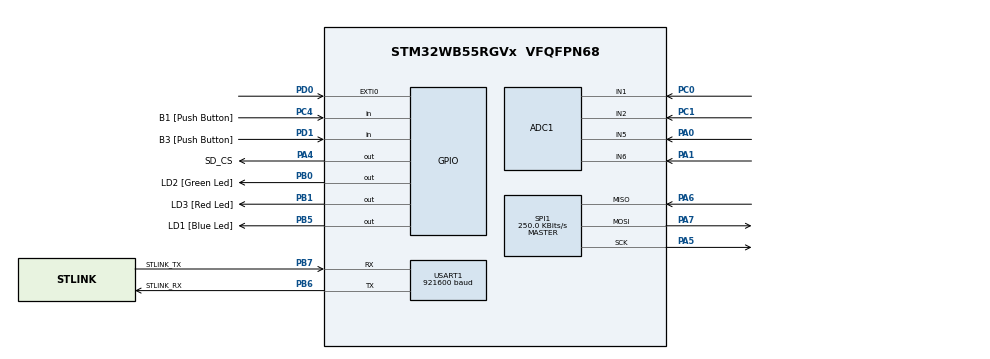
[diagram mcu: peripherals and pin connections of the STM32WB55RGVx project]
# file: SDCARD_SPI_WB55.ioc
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ADC1.Channel-0\#ChannelRegularConversion=ADC_CHANNEL_1
ADC1.Channel-4\#ChannelRegularConversion=ADC_CHANNEL_2
ADC1.Channel-5\#ChannelRegularConversion=ADC_CHANNEL_5
ADC1.Channel-6\#ChannelRegularConversion=ADC_CHANNEL_6
ADC1.DMAContinuousRequests=ENABLE
ADC1.EOCSelection=ADC_EOC_SEQ_CONV
ADC1.ExternalTrigConv=ADC_EXTERNALTRIG_T2_TRGO
ADC1.NbrOfConversion=4
ADC1.NbrOfConversionFlag=1
ADC1.OffsetNumber-0\#ChannelRegularConversion=ADC_OFFSET_NONE
ADC1.OffsetNumber-4\#ChannelRegularConversion=ADC_OFFSET_NONE
ADC1.OffsetNumber-5\#ChannelRegularConversion=ADC_OFFSET_NONE
ADC1.OffsetNumber-6\#ChannelRegularConversion=ADC_OFFSET_NONE
ADC1.OversamplingMode=ENABLE
ADC1.Rank-0\#ChannelRegularConversion=1
ADC1.Rank-4\#ChannelRegularConversion=2
ADC1.Rank-5\#ChannelRegularConversion=3
ADC1.Rank-6\#ChannelRegularConversion=4
ADC1.Ratio=ADC_OVERSAMPLING_RATIO_256
ADC1.RightBitShift=ADC_RIGHTBITSHIFT_4
ADC1.SamplingTime-0\#ChannelRegularConversion=ADC_SAMPLETIME_2CYCLES_5
ADC1.SamplingTime-4\#ChannelRegularConversion=ADC_SAMPLETIME_2CYCLES_5
ADC1.SamplingTime-5\#ChannelRegularConversion=ADC_SAMPLETIME_2CYCLES_5
ADC1.SamplingTime-6\#ChannelRegularConversion=ADC_SAMPLETIME_2CYCLES_5
ADC1.master=1
Dma.ADC1.0.Direction=DMA_PERIPH_TO_MEMORY
Dma.ADC1.0.EventEnable=DISABLE
Dma.ADC1.0.Instance=DMA1_Channel1
Dma.ADC1.0.MemDataAlignment=DMA_MDATAALIGN_HALFWORD
Dma.ADC1.0.MemInc=DMA_MINC_ENABLE
Dma.ADC1.0.Mode=DMA_CIRCULAR
Dma.ADC1.0.PeriphDataAlignment=DMA_PDATAALIGN_HALFWORD
Dma.ADC1.0.PeriphInc=DMA_PINC_DISABLE
Dma.ADC1.0.Polarity=HAL_DMAMUX_REQ_GEN_RISING
Dma.ADC1.0.Priority=DMA_PRIORITY_LOW
Dma.ADC1.0.RequestNumber=1
Dma.ADC1.0.SignalID=NONE
Dma.ADC1.0.SyncEnable=DISABLE
Dma.ADC1.0.SyncPolarity=HAL_DMAMUX_SYNC_NO_EVENT
Dma.ADC1.0.SyncRequestNumber=1
Dma.ADC1.0.SyncSignalID=NONE
Dma.Request0=ADC1
Mcu.Family=STM32WB
Mcu.Name=STM32WB55RGVx
Mcu.Package=VFQFPN68
NVIC.DMA1_Channel1_IRQn=true\:0\:0\:false\:false\:true\:false\:true\:true
NVIC.EXTI0_IRQn=true\:0\:0\:true\:false\:true\:true\:true\:true
NVIC.PriorityGroup=NVIC_PRIORITYGROUP_4
OSC_IN.Mode=HSE-External-Oscillator
OSC_IN.Signal=RCC_OSC_IN
OSC_OUT.Mode=HSE-External-Oscillator
OSC_OUT.Signal=RCC_OSC_OUT
PA0.Signal=ADCx_IN5
PA1.Signal=ADCx_IN6
PA13.GPIO_Label=JTMS
PA13.Mode=Trace_Asynchronous_SW
PA13.Signal=SYS_JTMS-SWDIO
PA14.GPIO_Label=JTCK
PA14.Mode=Trace_Asynchronous_SW
PA14.Signal=SYS_JTCK-SWCLK
PA4.GPIO_Label=SD_CS
PA4.GPIO_PuPd=GPIO_PULLUP
PA4.GPIO_Speed=GPIO_SPEED_FREQ_VERY_HIGH
PA4.Signal=GPIO_Output
PA5.GPIO_PuPd=GPIO_PULLUP
PA5.GPIO_Speed=GPIO_SPEED_FREQ_VERY_HIGH
PA5.Mode=Full_Duplex_Master
PA5.Signal=SPI1_SCK
PA6.GPIO_PuPd=GPIO_PULLUP
PA6.GPIO_Speed=GPIO_SPEED_FREQ_VERY_HIGH
PA6.Mode=Full_Duplex_Master
PA6.Signal=SPI1_MISO
PA7.GPIO_PuPd=GPIO_PULLUP
PA7.GPIO_Speed=GPIO_SPEED_FREQ_VERY_HIGH
PA7.Mode=Full_Duplex_Master
PA7.Signal=SPI1_MOSI
PB0.GPIO_Label=LD2 [Green Led]
PB0.Signal=GPIO_Output
PB1.GPIO_Label=LD3 [Red Led]
PB1.Signal=GPIO_Output
PB3.GPIO_Label=JTDO
PB3.Mode=Trace_Asynchronous_SW
PB3.Signal=SYS_JTDO-SWO
PB5.GPIO_Label=LD1 [Blue Led]
PB5.Signal=GPIO_Output
PB6.GPIO_Label=STLINK_RX
PB6.GPIO_PuPd=GPIO_PULLUP
PB6.Mode=Asynchronous
PB6.Signal=USART1_TX
PB7.GPIO_Label=STLINK_TX
PB7.GPIO_PuPd=GPIO_PULLUP
PB7.Mode=Asynchronous
PB7.Signal=USART1_RX
PC0.Signal=ADCx_IN1
PC1.Signal=ADCx_IN2
PC13.Mode=SYS_WakeUp1
PC13.Signal=SYS_WKUP2
PC14-OSC32_IN.Mode=LSE-External-Oscillator
PC14-OSC32_IN.Signal=RCC_OSC32_IN
PC15-OSC32_OUT.Mode=LSE-External-Oscillator
PC15-OSC32_OUT.Signal=RCC_OSC32_OUT
PC4.GPIO_Label=B1 [Push Button]
PC4.Signal=GPIO_Input
PD0.GPIO_ModeDefaultEXTI=GPIO_MODE_IT_FALLING
PD0.GPIO_PuPd=GPIO_PULLUP
PD0.Signal=GPXTI0
PD1.GPIO_Label=B3 [Push Button]
PD1.Signal=GPIO_Input
ProjectManager.HeapSize=0x200
ProjectManager.StackSize=0x400
ProjectManager.TargetToolchain=STM32CubeIDE
RCC.ADCFreq_Value=48000000
RCC.AHB2CLKDivider=RCC_SYSCLK_DIV2
RCC.AHBFreq_Value=64000000
RCC.APB1Freq_Value=64000000
RCC.APB1TimFreq_Value=64000000
RCC.APB2Freq_Value=64000000
RCC.APB2TimFreq_Value=64000000
RCC.APB3Freq_Value=16000000
RCC.CortexFreq_Value=64000000
RCC.HCLKFreq_Value=64000000
RCC.HSE_VALUE=32000000
RCC.HSI48_VALUE=48000000
RCC.HSI_VALUE=16000000
RCC.PLLN=32
RCC.PLLSAI1N=24
RCC.SMPSCLockSelectionVirtual=RCC_SMPSCLKSOURCE_HSI
RCC.SMPSCLockSelectionVirtualVirtual=RCC_SMPSCLKSOURCE_HSI
RCC.SMPSDivider=1
RCC.SYSCLKFreq_VALUE=64000000
RCC.SYSCLKSource=RCC_SYSCLKSOURCE_PLLCLK
RCC.USBFreq_Value=48000000
RCC.VCOOutputFreq_Value=128000000
SH.ADCx_IN1.0=ADC1_IN1,IN1-Single-Ended
SH.ADCx_IN2.0=ADC1_IN2,IN2-Single-Ended
SH.ADCx_IN5.0=ADC1_IN5,IN5-Single-Ended
SH.ADCx_IN6.0=ADC1_IN6,IN6-Single-Ended
SPI1.BaudRatePrescaler=SPI_BAUDRATEPRESCALER_256
SPI1.CalculateBaudRate=250.0 KBits/s
SPI1.DataSize=SPI_DATASIZE_8BIT
SPI1.Direction=SPI_DIRECTION_2LINES
SPI1.Mode=SPI_MODE_MASTER
SPI1.VirtualType=VM_MASTER
TIM2.Period=32000-1
TIM2.TIM_MasterOutputTrigger=TIM_TRGO_UPDATE
USART1.BaudRate=921600
USART1.VirtualMode-Asynchronous=VM_ASYNC
USART1.WordLength=WORDLENGTH_8B
VP_FATFS_VS_Generic.Mode=User_defined
VP_TIM2_VS_ClockSourceINT.Mode=Internal
board=P-NUCLEO-WB55-NUCLEO

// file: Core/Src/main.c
/* USER CODE BEGIN Header */
/**
  ******************************************************************************
  * @file           : main.c
  * @brief          : Main program body
  ******************************************************************************
  * @attention
  *
  * Copyright (c) 2023 STMicroelectronics.
  * All rights reserved.
  *
  * This software is licensed under terms that can be found in the LICENSE file
  * in the root directory of this software component.
  * If no LICENSE file comes with this software, it is provided AS-IS.
  *
  ******************************************************************************
  */
/* USER CODE END Header */
#include "main.h"
#include "app_fatfs.h"

/* USER CODE BEGIN Includes */
#include <stdio.h>
#include <string.h>
#include <stdarg.h> //for va_list var arg functions
#include "RingBuffer.h"
/* USER CODE END Includes */

/* USER CODE BEGIN PD */
/* Sampling frequency of ADC/period of timer */
#define SAMP_FREQ 			    2000
/* DMA buffer length. Since app uses double buffer, amount of time to transmit ADC data to SD card is
 * ( 1 / SAMP_FREQ ) * ( DMA_BUFF_LENGTH / 2)
 * Make buffer length a power of 2 */
#define DMA_BUFF_LENGTH		  8192
/*
 * The size of the ring buffer in terms of DMA buffer lengths
 * ie. if RING_BUFFER_CHUNKS = 2, total length of ring buffer is DDMA_BUFF_LENGTH * RING_BUFFER_CHUNKS
 */
#define RING_BUFFER_CHUNKS  8
/* USER CODE END PD */

ADC_HandleTypeDef hadc1;
DMA_HandleTypeDef hdma_adc1;

SPI_HandleTypeDef hspi1;

TIM_HandleTypeDef htim2;

UART_HandleTypeDef huart1;

/* USER CODE BEGIN PV */

/* Lookup table for decimal to string conversion
 * doing two digits at a time reduces number of divides, improving performance
 */
static const char digits_LUT[201] =

  "0001020304050607080910111213141516171819"

  "2021222324252627282930313233343536373839"

  "4041424344454647484950515253545556575859"

  "6061626364656667686970717273747576777879"

  "8081828384858687888990919293949596979899";

Ring_Buffer_t hRingBuff =
  {
      .BytesPerSample =   2,                    // 12 bit ADC data will use 16-bit data buffer
      .MaxNumSamples =    DMA_BUFF_LENGTH * RING_BUFFER_CHUNKS,  // make larger than DMA buffer to help avoid data loss

      /* clear all index variables */
      .readIdx =          0,
      .writeIdx =         0,
      .availableSamples = 0
  };

uint32_t RingBufferErrorCode;

FRESULT res; /* FatFs function common result code */
UINT byteswritten; /* File write/read counts */
char str_buf[256];
uint8_t workBuffer[_MAX_SS];
FIL ADC_data_file;

volatile uint16_t adc_dma_buf[DMA_BUFF_LENGTH];
uint16_t *ConsumeBuff;

uint8_t write_adc_data = 0;
int file_num = 0;
uint32_t str_len;

int ADCStrlength;
char ADCValStr[16];
/* USER CODE END PV */

void SystemClock_Config(void);
void PeriphCommonClock_Config(void);
static void MX_GPIO_Init(void);
static void MX_DMA_Init(void);
static void MX_USART1_UART_Init(void);
static void MX_SPI1_Init(void);
static void MX_ADC1_Init(void);
static void MX_TIM2_Init(void);
/* USER CODE BEGIN PFP */
/*
 * Control the sampling frequncy of ADC by adjusting timer parameters.
 */
void SetSamplingFrequency(uint32_t freq);
/*
 * Initialize File System and Link low level SD drivers
 */
FRESULT InitFileSystem(void);
// Custom fast itoa function
int fast5DigitDecToStr(uint32_t value, char* dst);
/* USER CODE END PFP */

/* USER CODE BEGIN 0 */
void myprintf(const char *fmt, ...) {
  static char buffer[256];
  va_list args;
  va_start(args, fmt);
  vsnprintf(buffer, sizeof(buffer), fmt, args);
  va_end(args);

  int len = strlen(buffer);
  HAL_UART_Transmit(&huart1, (uint8_t*)buffer, len, -1);

}
/* USER CODE END 0 */

int main(void)
{

  /* MCU Configuration--------------------------------------------------------*/

  /* Reset of all peripherals, Initializes the Flash interface and the Systick. */
  HAL_Init();

  /* Configure the system clock */
  SystemClock_Config();

/* Configure the peripherals common clocks */
  PeriphCommonClock_Config();

  /* Initialize all configured peripherals */
  MX_GPIO_Init();
  MX_DMA_Init();
  MX_USART1_UART_Init();
  MX_SPI1_Init();
  if (MX_FATFS_Init() != APP_OK) {
    Error_Handler();
  }
  MX_ADC1_Init();
  MX_TIM2_Init();
  /* USER CODE BEGIN 2 */

  // Link SD drivers to file system
  res = InitFileSystem();

  if (res != FR_OK)
  {
	  myprintf("f_mount error (%i)\r\n", res);
	  Error_Handler();
  }
  HAL_Delay(500);
  // Set the sampling frequency of the ADC by setting timer frequency
  SetSamplingFrequency(SAMP_FREQ);

  // Allocate the memory for the ring buffer
  RingBufferErrorCode = RingBuffer_alloc(&hRingBuff);

  if ( RingBufferErrorCode != RB_ERR_OK )
  {
	  Error_Handler();
  }

  HAL_TIM_Base_Start(&htim2);
  HAL_ADC_Start_DMA(&hadc1, (uint32_t *)adc_dma_buf, DMA_BUFF_LENGTH);

  /* USER CODE END 2 */

  /* Infinite loop */
  /* USER CODE BEGIN WHILE */
  while (1)
    {

      // Start writing ADC data when button is pressed, flag toggled in EXTI ISR
      if (write_adc_data)
      {
        file_num++;

        // green LED indicates that file writing process is ongoing
        HAL_GPIO_WritePin(LD2_GPIO_Port, LD2_Pin, GPIO_PIN_SET);

        str_len = sprintf(str_buf, "ADCVals%d.csv", file_num);

        char file_name[str_len+1];

        // Necessary to make sure string is NULL terminated
        for (uint32_t i = 0; i < str_len + 1; i++)
        {
            file_name[i] = str_buf[i];
        }

        res = f_open(&ADC_data_file, file_name, FA_CREATE_ALWAYS | FA_WRITE);

        if( res == FR_OK)
        {

          /* Write ADC data into file until the button is pressed again */
          while ( write_adc_data )
          {

            // Avoid underflow of ring buffer
            if ( hRingBuff.availableSamples > 0 )
            {
              ConsumeBuff = (uint16_t *)RingBuffer_consume(&hRingBuff, DMA_BUFF_LENGTH/2);

              /* Extra safety net.
               * Should be hit since above conditionals checks or available samples
               */
              if (ConsumeBuff == NULL)
              {
                Error_Handler();
              }

			  for (uint32_t i = 0; i < DMA_BUFF_LENGTH/2/4; i++)
			  {
//				myprintf("%d, %d, %d, %d, %d\r\n", i, (int)ConsumeBuff[i*4], (int)ConsumeBuff[i*4+1], (int)ConsumeBuff[i*4+2], (int)ConsumeBuff[i*4+3]);
				str_len = sprintf(str_buf, "%d, %d, %d, %d\r\n", (int)ConsumeBuff[i*4], (int)ConsumeBuff[i*4+1], (int)ConsumeBuff[i*4+2], (int)ConsumeBuff[i*4+3]);
//					ADCStrlength = fast5DigitDecToStr((int)ConsumeBuff[i], ADCValStr);
//
//					ADCValStr[ADCStrlength] = '\n';
//
				res = f_write(&ADC_data_file, str_buf, str_len, &byteswritten);
//
			  }

            }

          }

          /*
           * If the above while loop finishes executing and there are still samples left in the ring buffer,
           * finish writing the remaining samples to the file
           */
          if ( hRingBuff.availableSamples > 0 )
          {
            while (hRingBuff.availableSamples > 0)
            {

              ConsumeBuff = (uint16_t *)RingBuffer_consume(&hRingBuff, DMA_BUFF_LENGTH/2);

              /* Extra safety net.
               * Should be hit since above conditionals checkf or available samples
               */
              if (ConsumeBuff == NULL)
              {
                Error_Handler();
              }

			  for (uint32_t i = 0; i < DMA_BUFF_LENGTH/2/4; i++)
			  {
//				myprintf("%d, %d, %d, %d, %d\r\n", i, (int)ConsumeBuff[i*4], (int)ConsumeBuff[i*4+1], (int)ConsumeBuff[i*4+2], (int)ConsumeBuff[i*4+3]);
				str_len = sprintf(str_buf, "%d, %d, %d, %d\r\n", (int)ConsumeBuff[i*4], (int)ConsumeBuff[i*4+1], (int)ConsumeBuff[i*4+2], (int)ConsumeBuff[i*4+3]);
//					ADCStrlength = fast5DigitDecToStr((int)ConsumeBuff[i], ADCValStr);
//
//					ADCValStr[ADCStrlength] = '\n';
//
				res = f_write(&ADC_data_file, str_buf, str_len, &byteswritten);
//
			  }
            }
          }

          f_close(&ADC_data_file);
        }

        // Turn off green LED to indicate file isn't being written to any longer
        HAL_GPIO_WritePin(LD2_GPIO_Port, LD2_Pin, GPIO_PIN_RESET);
      }

    /* USER CODE END WHILE */

    }
}

void SystemClock_Config(void)
{
  RCC_OscInitTypeDef RCC_OscInitStruct = {0};
  RCC_ClkInitTypeDef RCC_ClkInitStruct = {0};

  /** Configure the main internal regulator output voltage
  */
  __HAL_PWR_VOLTAGESCALING_CONFIG(PWR_REGULATOR_VOLTAGE_SCALE1);

  /** Initializes the RCC Oscillators according to the specified parameters
  * in the RCC_OscInitTypeDef structure.
  */
  RCC_OscInitStruct.OscillatorType = RCC_OSCILLATORTYPE_HSI|RCC_OSCILLATORTYPE_HSE
                              |RCC_OSCILLATORTYPE_MSI;
  RCC_OscInitStruct.HSEState = RCC_HSE_ON;
  RCC_OscInitStruct.HSIState = RCC_HSI_ON;
  RCC_OscInitStruct.MSIState = RCC_MSI_ON;
  RCC_OscInitStruct.HSICalibrationValue = RCC_HSICALIBRATION_DEFAULT;
  RCC_OscInitStruct.MSICalibrationValue = RCC_MSICALIBRATION_DEFAULT;
  RCC_OscInitStruct.MSIClockRange = RCC_MSIRANGE_6;
  RCC_OscInitStruct.PLL.PLLState = RCC_PLL_ON;
  RCC_OscInitStruct.PLL.PLLSource = RCC_PLLSOURCE_MSI;
  RCC_OscInitStruct.PLL.PLLM = RCC_PLLM_DIV1;
  RCC_OscInitStruct.PLL.PLLN = 32;
  RCC_OscInitStruct.PLL.PLLP = RCC_PLLP_DIV2;
  RCC_OscInitStruct.PLL.PLLR = RCC_PLLR_DIV2;
  RCC_OscInitStruct.PLL.PLLQ = RCC_PLLQ_DIV2;
  if (HAL_RCC_OscConfig(&RCC_OscInitStruct) != HAL_OK)
  {
    Error_Handler();
  }

  /** Configure the SYSCLKSource, HCLK, PCLK1 and PCLK2 clocks dividers
  */
  RCC_ClkInitStruct.ClockType = RCC_CLOCKTYPE_HCLK4|RCC_CLOCKTYPE_HCLK2
                              |RCC_CLOCKTYPE_HCLK|RCC_CLOCKTYPE_SYSCLK
                              |RCC_CLOCKTYPE_PCLK1|RCC_CLOCKTYPE_PCLK2;
  RCC_ClkInitStruct.SYSCLKSource = RCC_SYSCLKSOURCE_PLLCLK;
  RCC_ClkInitStruct.AHBCLKDivider = RCC_SYSCLK_DIV1;
  RCC_ClkInitStruct.APB1CLKDivider = RCC_HCLK_DIV1;
  RCC_ClkInitStruct.APB2CLKDivider = RCC_HCLK_DIV1;
  RCC_ClkInitStruct.AHBCLK2Divider = RCC_SYSCLK_DIV2;
  RCC_ClkInitStruct.AHBCLK4Divider = RCC_SYSCLK_DIV1;

  if (HAL_RCC_ClockConfig(&RCC_ClkInitStruct, FLASH_LATENCY_3) != HAL_OK)
  {
    Error_Handler();
  }
}

void PeriphCommonClock_Config(void)
{
  RCC_PeriphCLKInitTypeDef PeriphClkInitStruct = {0};

  /** Initializes the peripherals clock
  */
  PeriphClkInitStruct.PeriphClockSelection = RCC_PERIPHCLK_SMPS;
  PeriphClkInitStruct.SmpsClockSelection = RCC_SMPSCLKSOURCE_HSI;
  PeriphClkInitStruct.SmpsDivSelection = RCC_SMPSCLKDIV_RANGE0;

  if (HAL_RCCEx_PeriphCLKConfig(&PeriphClkInitStruct) != HAL_OK)
  {
    Error_Handler();
  }
}

static void MX_ADC1_Init(void)
{

  ADC_ChannelConfTypeDef sConfig = {0};

  /** Common config
  */
  hadc1.Instance = ADC1;
  hadc1.Init.ClockPrescaler = ADC_CLOCK_ASYNC_DIV1;
  hadc1.Init.Resolution = ADC_RESOLUTION_12B;
  hadc1.Init.DataAlign = ADC_DATAALIGN_RIGHT;
  hadc1.Init.ScanConvMode = ADC_SCAN_ENABLE;
  hadc1.Init.EOCSelection = ADC_EOC_SEQ_CONV;
  hadc1.Init.LowPowerAutoWait = DISABLE;
  hadc1.Init.ContinuousConvMode = DISABLE;
  hadc1.Init.NbrOfConversion = 4;
  hadc1.Init.DiscontinuousConvMode = DISABLE;
  hadc1.Init.ExternalTrigConv = ADC_EXTERNALTRIG_T2_TRGO;
  hadc1.Init.ExternalTrigConvEdge = ADC_EXTERNALTRIGCONVEDGE_RISING;
  hadc1.Init.DMAContinuousRequests = ENABLE;
  hadc1.Init.Overrun = ADC_OVR_DATA_PRESERVED;
  hadc1.Init.OversamplingMode = ENABLE;
  hadc1.Init.Oversampling.Ratio = ADC_OVERSAMPLING_RATIO_256;
  hadc1.Init.Oversampling.RightBitShift = ADC_RIGHTBITSHIFT_4;
  hadc1.Init.Oversampling.TriggeredMode = ADC_TRIGGEREDMODE_SINGLE_TRIGGER;
  hadc1.Init.Oversampling.OversamplingStopReset = ADC_REGOVERSAMPLING_CONTINUED_MODE;
  if (HAL_ADC_Init(&hadc1) != HAL_OK)
  {
    Error_Handler();
  }

  /** Configure Regular Channel
  */
  sConfig.Channel = ADC_CHANNEL_1;
  sConfig.Rank = ADC_REGULAR_RANK_1;
  sConfig.SamplingTime = ADC_SAMPLETIME_6CYCLES_5;
  sConfig.SingleDiff = ADC_SINGLE_ENDED;
  sConfig.OffsetNumber = ADC_OFFSET_NONE;
  sConfig.Offset = 0;
  if (HAL_ADC_ConfigChannel(&hadc1, &sConfig) != HAL_OK)
  {
    Error_Handler();
  }

  /** Configure Regular Channel
  */
  sConfig.Channel = ADC_CHANNEL_2;
  sConfig.Rank = ADC_REGULAR_RANK_2;
  if (HAL_ADC_ConfigChannel(&hadc1, &sConfig) != HAL_OK)
  {
    Error_Handler();
  }

  /** Configure Regular Channel
  */
  sConfig.Channel = ADC_CHANNEL_5;
  sConfig.Rank = ADC_REGULAR_RANK_3;
  if (HAL_ADC_ConfigChannel(&hadc1, &sConfig) != HAL_OK)
  {
    Error_Handler();
  }

  /** Configure Regular Channel
  */
  sConfig.Channel = ADC_CHANNEL_6;
  sConfig.Rank = ADC_REGULAR_RANK_4;
  if (HAL_ADC_ConfigChannel(&hadc1, &sConfig) != HAL_OK)
  {
    Error_Handler();
  }

}

static void MX_SPI1_Init(void)
{

  /* SPI1 parameter configuration*/
  hspi1.Instance = SPI1;
  hspi1.Init.Mode = SPI_MODE_MASTER;
  hspi1.Init.Direction = SPI_DIRECTION_2LINES;
  hspi1.Init.DataSize = SPI_DATASIZE_8BIT;
  hspi1.Init.CLKPolarity = SPI_POLARITY_LOW;
  hspi1.Init.CLKPhase = SPI_PHASE_1EDGE;
  hspi1.Init.NSS = SPI_NSS_SOFT;
  hspi1.Init.BaudRatePrescaler = SPI_BAUDRATEPRESCALER_256;
  hspi1.Init.FirstBit = SPI_FIRSTBIT_MSB;
  hspi1.Init.TIMode = SPI_TIMODE_DISABLE;
  hspi1.Init.CRCCalculation = SPI_CRCCALCULATION_DISABLE;
  hspi1.Init.CRCPolynomial = 7;
  hspi1.Init.CRCLength = SPI_CRC_LENGTH_DATASIZE;
  hspi1.Init.NSSPMode = SPI_NSS_PULSE_ENABLE;
  if (HAL_SPI_Init(&hspi1) != HAL_OK)
  {
    Error_Handler();
  }

}

static void MX_TIM2_Init(void)
{

  TIM_ClockConfigTypeDef sClockSourceConfig = {0};
  TIM_MasterConfigTypeDef sMasterConfig = {0};

  htim2.Instance = TIM2;
  htim2.Init.Prescaler = 0;
  htim2.Init.CounterMode = TIM_COUNTERMODE_UP;
  htim2.Init.Period = 32000-1;
  htim2.Init.ClockDivision = TIM_CLOCKDIVISION_DIV1;
  htim2.Init.AutoReloadPreload = TIM_AUTORELOAD_PRELOAD_DISABLE;
  if (HAL_TIM_Base_Init(&htim2) != HAL_OK)
  {
    Error_Handler();
  }
  sClockSourceConfig.ClockSource = TIM_CLOCKSOURCE_INTERNAL;
  if (HAL_TIM_ConfigClockSource(&htim2, &sClockSourceConfig) != HAL_OK)
  {
    Error_Handler();
  }
  sMasterConfig.MasterOutputTrigger = TIM_TRGO_UPDATE;
  sMasterConfig.MasterSlaveMode = TIM_MASTERSLAVEMODE_DISABLE;
  if (HAL_TIMEx_MasterConfigSynchronization(&htim2, &sMasterConfig) != HAL_OK)
  {
    Error_Handler();
  }

}

static void MX_USART1_UART_Init(void)
{

  huart1.Instance = USART1;
  huart1.Init.BaudRate = 921600;
  huart1.Init.WordLength = UART_WORDLENGTH_8B;
  huart1.Init.StopBits = UART_STOPBITS_1;
  huart1.Init.Parity = UART_PARITY_NONE;
  huart1.Init.Mode = UART_MODE_TX_RX;
  huart1.Init.HwFlowCtl = UART_HWCONTROL_NONE;
  huart1.Init.OverSampling = UART_OVERSAMPLING_16;
  huart1.Init.OneBitSampling = UART_ONE_BIT_SAMPLE_DISABLE;
  huart1.Init.ClockPrescaler = UART_PRESCALER_DIV1;
  huart1.AdvancedInit.AdvFeatureInit = UART_ADVFEATURE_NO_INIT;
  if (HAL_UART_Init(&huart1) != HAL_OK)
  {
    Error_Handler();
  }
  if (HAL_UARTEx_SetTxFifoThreshold(&huart1, UART_TXFIFO_THRESHOLD_1_8) != HAL_OK)
  {
    Error_Handler();
  }
  if (HAL_UARTEx_SetRxFifoThreshold(&huart1, UART_RXFIFO_THRESHOLD_1_8) != HAL_OK)
  {
    Error_Handler();
  }
  if (HAL_UARTEx_DisableFifoMode(&huart1) != HAL_OK)
  {
    Error_Handler();
  }

}

static void MX_DMA_Init(void)
{

  /* DMA controller clock enable */
  __HAL_RCC_DMAMUX1_CLK_ENABLE();
  __HAL_RCC_DMA1_CLK_ENABLE();

  /* DMA interrupt init */
  /* DMA1_Channel1_IRQn interrupt configuration */
  HAL_NVIC_SetPriority(DMA1_Channel1_IRQn, 0, 0);
  HAL_NVIC_EnableIRQ(DMA1_Channel1_IRQn);

}

static void MX_GPIO_Init(void)
{
  GPIO_InitTypeDef GPIO_InitStruct = {0};

  /* GPIO Ports Clock Enable */
  __HAL_RCC_GPIOC_CLK_ENABLE();
  __HAL_RCC_GPIOA_CLK_ENABLE();
  __HAL_RCC_GPIOB_CLK_ENABLE();
  __HAL_RCC_GPIOD_CLK_ENABLE();

  /*Configure GPIO pin Output Level */
  HAL_GPIO_WritePin(SD_CS_GPIO_Port, SD_CS_Pin, GPIO_PIN_RESET);

  /*Configure GPIO pin Output Level */
  HAL_GPIO_WritePin(GPIOB, LD2_Pin|LD3_Pin|LD1_Pin, GPIO_PIN_RESET);

  /*Configure GPIO pin : SD_CS_Pin */
  GPIO_InitStruct.Pin = SD_CS_Pin;
  GPIO_InitStruct.Mode = GPIO_MODE_OUTPUT_PP;
  GPIO_InitStruct.Pull = GPIO_PULLUP;
  GPIO_InitStruct.Speed = GPIO_SPEED_FREQ_VERY_HIGH;
  HAL_GPIO_Init(SD_CS_GPIO_Port, &GPIO_InitStruct);

  /*Configure GPIO pin : B1_Pin */
  GPIO_InitStruct.Pin = B1_Pin;
  GPIO_InitStruct.Mode = GPIO_MODE_INPUT;
  GPIO_InitStruct.Pull = GPIO_NOPULL;
  HAL_GPIO_Init(B1_GPIO_Port, &GPIO_InitStruct);

  /*Configure GPIO pins : LD2_Pin LD3_Pin LD1_Pin */
  GPIO_InitStruct.Pin = LD2_Pin|LD3_Pin|LD1_Pin;
  GPIO_InitStruct.Mode = GPIO_MODE_OUTPUT_PP;
  GPIO_InitStruct.Pull = GPIO_NOPULL;
  GPIO_InitStruct.Speed = GPIO_SPEED_FREQ_LOW;
  HAL_GPIO_Init(GPIOB, &GPIO_InitStruct);

  /*Configure GPIO pin : PD0 */
  GPIO_InitStruct.Pin = GPIO_PIN_0;
  GPIO_InitStruct.Mode = GPIO_MODE_IT_FALLING;
  GPIO_InitStruct.Pull = GPIO_PULLUP;
  HAL_GPIO_Init(GPIOD, &GPIO_InitStruct);

  /*Configure GPIO pin : B3_Pin */
  GPIO_InitStruct.Pin = B3_Pin;
  GPIO_InitStruct.Mode = GPIO_MODE_INPUT;
  GPIO_InitStruct.Pull = GPIO_NOPULL;
  HAL_GPIO_Init(B3_GPIO_Port, &GPIO_InitStruct);

  /* EXTI interrupt init*/
  HAL_NVIC_SetPriority(EXTI0_IRQn, 0, 0);
  HAL_NVIC_EnableIRQ(EXTI0_IRQn);

}

/* USER CODE BEGIN 4 */

void SetSamplingFrequency(uint32_t freq)
{
	uint32_t prescaler = 0;

	// 120MHz clock frequency
	uint32_t ARRval = (64000000 / ( (freq) * (prescaler + 1) ) ) - 1;

	/*
	 * If ARR value associated with proper frequency is larger than max allowed
	 * ARR value, then increase the prescaler until ARR value is within acceptable range
	 */
	while ( ARRval >= 65535 )
	{
		prescaler++;
		__HAL_TIM_SET_PRESCALER(&htim2, prescaler);
		ARRval = (64000000 / ( (freq) * (prescaler + 1) ) ) - 1;
	}

	__HAL_TIM_SET_AUTORELOAD(&htim2, ARRval);

}

FRESULT InitFileSystem(void)
{
  FRESULT res;
//  res = f_mkfs(USERPath, FM_ANY, 0, workBuffer, sizeof(workBuffer));
//
//  if (res != FR_OK)
//  {
//    return res;
//  }

  res = f_mount(&USERFatFs, (TCHAR const*)USERPath, 0);

  if(res != FR_OK)
  {
	  myprintf("f_mount error (%i)\r\n", res);
	  while(1);
  }

  //Let's get some statistics from the SD card
  DWORD free_clusters, free_sectors, total_sectors;

  FATFS* getFreeFs;

  res = f_getfree("", &free_clusters, &getFreeFs);
  if (res != FR_OK) {
    myprintf("f_getfree error (%i)\r\n", res);
	while(1);
  }
  //Formula comes from ChaN's documentation
  total_sectors = (getFreeFs->n_fatent - 2) * getFreeFs->csize;
  free_sectors = free_clusters * getFreeFs->csize;

  myprintf("SD card stats:\r\n%10lu KiB total drive space.\r\n%10lu KiB available.\r\n", total_sectors / 2, free_sectors / 2);

  return res;
}

/*
 * Fast implementation of an itoa type of function with LUT. Returns the length of number turned to string
 * NOTE this only works for base 10 numbers 9999 or less
 */
int fast5DigitDecToStr(uint32_t value, char* dst) {

  uint32_t length;

  /* Comparison is much faster than mathematical calculation of length of number
   * Since number is only 4 digits at most, no needs to check further
   */
  if (value < 10) length = 1;

  else if (value < 100) length = 2;

  else if (value < 1000) length = 3;

  else if (value < 10000) length = 4;

  else if (value < 100000) length = 5;

  uint32_t str_idx = length - 1;

  /* Work buffer backwards for better performance, and use lookup table of two
   * digits at a time to reduce number of divides
   */
  while (value >= 100) {

    uint32_t digit_idx = (value % 100) * 2;

    value /= 100;   // Divide by 100 since we are handling 2 digits at a time

    dst[str_idx] = digits_LUT[digit_idx + 1];

    dst[str_idx - 1] = digits_LUT[digit_idx];

    str_idx -= 2;

  }

  // Handle last 1-2 digits

  // Only one digit left to handle
  if (value < 10) {

    dst[str_idx] = '0' + value;

  }
  // Handle last 2 digits with LUT
  else {

    uint32_t digit_idx = value * 2;

    dst[str_idx] = digits_LUT[digit_idx + 1];

    dst[str_idx - 1] = digits_LUT[digit_idx];

  }

  return (int)length;

}

void HAL_GPIO_EXTI_Callback(uint16_t GPIO_Pin)
{
  //Toggles ADC write state when user button is pressed

	write_adc_data ^= 1;
	HAL_GPIO_TogglePin(GPIOB, GPIO_PIN_5);

}

static void Handle_Overflow(void)
{
  // Stop writing ADC since internal ring buffer can't handle more data
   write_adc_data = 0;

  /* Reset all of the ring buffer state variables
   * in prep for restarting ADC reading
   */
  hRingBuff.readIdx = 0;
  hRingBuff.writeIdx = 0;
  hRingBuff.availableSamples = 0;

  // Blink a few times to indicate overflow.
  HAL_GPIO_WritePin(LD3_GPIO_Port, LD3_Pin, GPIO_PIN_RESET);
  HAL_Delay(200);
  HAL_GPIO_WritePin(LD3_GPIO_Port, LD3_Pin, GPIO_PIN_SET);
  HAL_Delay(200);
  HAL_GPIO_WritePin(LD3_GPIO_Port, LD3_Pin, GPIO_PIN_RESET);
  HAL_Delay(200);
  HAL_GPIO_WritePin(LD3_GPIO_Port, LD3_Pin, GPIO_PIN_SET);
  HAL_Delay(200);
  HAL_GPIO_WritePin(LD3_GPIO_Port, LD3_Pin, GPIO_PIN_RESET);

}

void HAL_ADC_ConvCpltCallback(ADC_HandleTypeDef *hadc)
{
	 if (write_adc_data)
	  {
	    RingBufferErrorCode = RingBuffer_feed(&hRingBuff, (uint8_t *)&adc_dma_buf[DMA_BUFF_LENGTH/2], DMA_BUFF_LENGTH/2);
	    if( RingBufferErrorCode != RB_ERR_OK )
	    {
	      if (RingBufferErrorCode == RB_ERR_OVERFLOW)
	      {
	        Handle_Overflow();
	      }
	    }
	  }
}
void HAL_ADC_ConvHalfCpltCallback(ADC_HandleTypeDef *hadc)
{
	if (write_adc_data)
	  {
	    RingBufferErrorCode = RingBuffer_feed(&hRingBuff, (uint8_t *)&adc_dma_buf[0], DMA_BUFF_LENGTH/2);
	    if( RingBufferErrorCode != RB_ERR_OK )
	    {
	      if (RingBufferErrorCode == RB_ERR_OVERFLOW)
	      {
	        Handle_Overflow();
	      }
	    }
	  }
}

void HAL_ADC_ErrorCallback(ADC_HandleTypeDef *hadc)
{
  Error_Handler();
}
/* USER CODE END 4 */

void Error_Handler(void)
{
  /* USER CODE BEGIN Error_Handler_Debug */
  /* User can add his own implementation to report the HAL error return state */
  __disable_irq();
  while (1)
  {
	  HAL_GPIO_WritePin(LD3_GPIO_Port, LD3_Pin, GPIO_PIN_SET);
  }
  /* USER CODE END Error_Handler_Debug */
}
